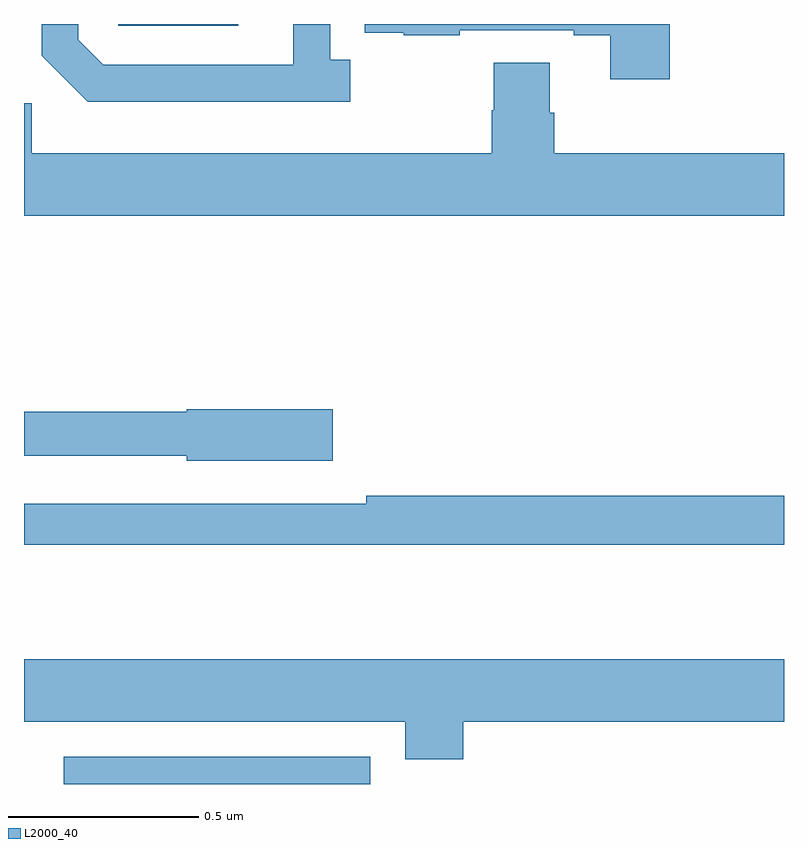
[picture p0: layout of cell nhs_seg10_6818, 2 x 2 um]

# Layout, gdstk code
import gdstk
lib = gdstk.Library(unit=1e-6, precision=1e-09)
def R(c, l, rs):  # rectangles x0, y0, x1, y1
    for r in rs: c.add(gdstk.rectangle(r[:2], r[2:], *l))
def P(c, l, *ps):  # polygons
    for p in ps: c.add(gdstk.Polygon(p, *l))
L2000_40 = (2000, 40)

nhs_seg10_6818 = lib.new_cell('nhs_seg10_6818')
R(nhs_seg10_6818, L2000_40, [(196.104,1285.5,196.911,1285.572), (196.248,1287.495,196.564,1287.5)])
P(nhs_seg10_6818, L2000_40, [(196.858,1287.406),(196.806,1287.406),(196.806,1287.5),(196.709,1287.5),(196.709,1287.393),(196.209,1287.393),(196.143,1287.459),(196.143,1287.5),(196.047,1287.5),(196.047,1287.417),(196.168,1287.296),(196.858,1287.296)],
  [(197.699,1287.5),(196.897,1287.5),(196.897,1287.477),(196.999,1287.477),(196.999,1287.471),(197.147,1287.471),(197.147,1287.483),(197.447,1287.483),(197.447,1287.471),(197.543,1287.471),(197.543,1287.354),(197.699,1287.354)],
  [(198,1287.16),(197.396,1287.16),(197.396,1287.266),(197.383,1287.266),(197.383,1287.398),(197.236,1287.398),(197.236,1287.273),(197.231,1287.273),(197.231,1287.16),(196.02,1287.16),(196.02,1287.292),(196,1287.292),(196,1286.996),(198,1286.996)],
  [(196.813,1286.486),(196.428,1286.486),(196.428,1286.48),(196,1286.48),(196,1286.364),(196.428,1286.364),(196.428,1286.351),(196.813,1286.351)],
  [(198,1286.258),(196.9,1286.258),(196.9,1286.238),(196,1286.238),(196,1286.13),(198,1286.13)],
  [(197.156,1285.664),(198,1285.664),(198,1285.828),(196,1285.828),(196,1285.664),(197.003,1285.664),(197.003,1285.565),(197.156,1285.565)])

lib.write_gds('nhs_seg10_6818.gds')
